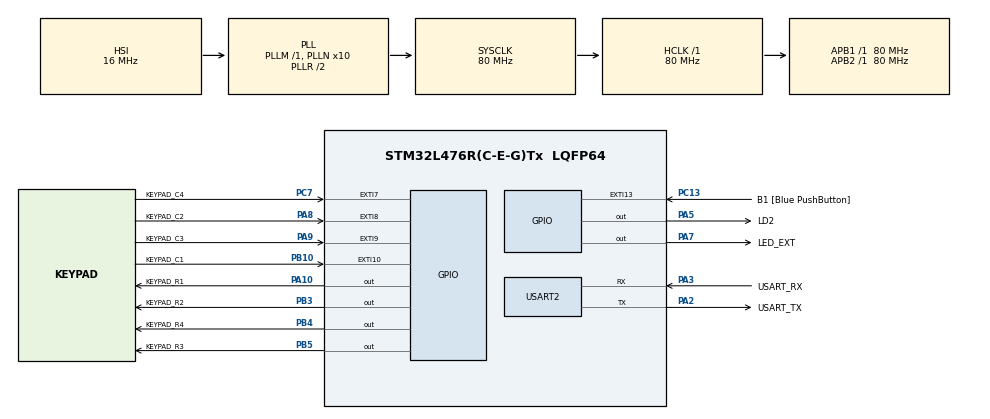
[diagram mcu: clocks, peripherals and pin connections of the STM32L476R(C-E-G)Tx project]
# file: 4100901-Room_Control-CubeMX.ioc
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Mcu.Family=STM32L4
Mcu.Name=STM32L476R(C-E-G)Tx
Mcu.Package=LQFP64
NVIC.EXTI15_10_IRQn=true\:0\:0\:false\:false\:true\:true\:true\:true
NVIC.EXTI9_5_IRQn=true\:0\:0\:false\:false\:true\:true\:true\:true
NVIC.PriorityGroup=NVIC_PRIORITYGROUP_4
NVIC.USART2_IRQn=true\:0\:0\:false\:false\:true\:true\:true\:true
PA10.GPIO_Label=KEYPAD_R1
PA10.Signal=GPIO_Output
PA13\ (JTMS-SWDIO).GPIO_Label=TMS
PA13\ (JTMS-SWDIO).Mode=Serial_Wire
PA13\ (JTMS-SWDIO).Signal=SYS_JTMS-SWDIO
PA14\ (JTCK-SWCLK).GPIO_Label=TCK
PA14\ (JTCK-SWCLK).Mode=Serial_Wire
PA14\ (JTCK-SWCLK).Signal=SYS_JTCK-SWCLK
PA2.GPIO_Label=USART_TX
PA2.GPIO_Mode=GPIO_MODE_AF_PP
PA2.GPIO_PuPd=GPIO_NOPULL
PA2.GPIO_Speed=GPIO_SPEED_FREQ_VERY_HIGH
PA2.Mode=Asynchronous
PA2.Signal=USART2_TX
PA3.GPIO_Label=USART_RX
PA3.GPIO_Mode=GPIO_MODE_AF_PP
PA3.GPIO_PuPd=GPIO_NOPULL
PA3.GPIO_Speed=GPIO_SPEED_FREQ_VERY_HIGH
PA3.Mode=Asynchronous
PA3.Signal=USART2_RX
PA5.GPIO_Label=LD2
PA5.Signal=GPIO_Output
PA7.GPIO_Label=LED_EXT
PA7.Signal=GPIO_Output
PA8.GPIO_Label=KEYPAD_C2
PA8.GPIO_PuPd=GPIO_PULLUP
PA8.Signal=GPXTI8
PA9.GPIO_Label=KEYPAD_C3
PA9.GPIO_PuPd=GPIO_PULLUP
PA9.Signal=GPXTI9
PB10.GPIO_Label=KEYPAD_C1
PB10.GPIO_PuPd=GPIO_PULLUP
PB10.Signal=GPXTI10
PB3\ (JTDO-TRACESWO).GPIO_Label=KEYPAD_R2
PB3\ (JTDO-TRACESWO).Signal=GPIO_Output
PB4\ (NJTRST).GPIO_Label=KEYPAD_R4
PB4\ (NJTRST).Signal=GPIO_Output
PB5.GPIO_Label=KEYPAD_R3
PB5.Signal=GPIO_Output
PC13.GPIO_Label=B1 [Blue PushButton]
PC13.GPIO_ModeDefaultEXTI=GPIO_MODE_IT_FALLING
PC13.GPIO_PuPd=GPIO_NOPULL
PC13.Signal=GPXTI13
PC14-OSC32_IN\ (PC14).Mode=LSE-External-Oscillator
PC14-OSC32_IN\ (PC14).Signal=RCC_OSC32_IN
PC15-OSC32_OUT\ (PC15).Mode=LSE-External-Oscillator
PC15-OSC32_OUT\ (PC15).Signal=RCC_OSC32_OUT
PC7.GPIO_Label=KEYPAD_C4
PC7.GPIO_PuPd=GPIO_PULLUP
PC7.Signal=GPXTI7
PH0-OSC_IN\ (PH0).Signal=RCC_OSC_IN
PH1-OSC_OUT\ (PH1).Signal=RCC_OSC_OUT
ProjectManager.HeapSize=0x200
ProjectManager.StackSize=0x400
ProjectManager.TargetToolchain=CMake
RCC.ADCFreq_Value=64000000
RCC.AHBFreq_Value=80000000
RCC.APB1Freq_Value=80000000
RCC.APB1TimFreq_Value=80000000
RCC.APB2Freq_Value=80000000
RCC.APB2TimFreq_Value=80000000
RCC.CortexFreq_Value=80000000
RCC.HCLKFreq_Value=80000000
RCC.HSE_VALUE=8000000
RCC.HSI_VALUE=16000000
RCC.MSI_VALUE=4000000
RCC.PLLN=10
RCC.PLLSourceVirtual=RCC_PLLSOURCE_HSI
RCC.PREFETCH_ENABLE=1
RCC.SYSCLKFreq_VALUE=80000000
RCC.SYSCLKSource=RCC_SYSCLKSOURCE_PLLCLK
RCC.USBFreq_Value=64000000
RCC.VCOOutputFreq_Value=160000000
USART2.VirtualMode-Asynchronous=VM_ASYNC
board=NUCLEO-L476RG

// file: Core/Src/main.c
/* USER CODE BEGIN Header */
/**
  ******************************************************************************
  * @file    stm32l4xx_it.h
  * @brief   This file contains the headers of the interrupt handlers.
  ******************************************************************************
  * @attention
  *
  * Copyright (c) 2025 STMicroelectronics.
  * All rights reserved.
  *
  * This software is licensed under terms that can be found in the LICENSE file
  * in the root directory of this software component.
  * If no LICENSE file comes with this software, it is provided AS-IS.
  *
  ******************************************************************************
  */
/* USER CODE END Header */

#include "main.h"
#include "keypad_driver.h"
#include "led_driver.h"
#include "ring_buffer.h"
#include <stdio.h>
#include <string.h>

UART_HandleTypeDef huart2;
int _write(int file, char *ptr, int len) { // Redirección de printf para enviar datos por UART

//Controlador de UART2 para comunicación serie
    HAL_UART_Transmit(&huart2, (uint8_t*)ptr, len, HAL_MAX_DELAY);
    return len;
}

/* USER CODE BEGIN PV */
led_handle_t led1 = { .port = GPIOA, .pin = GPIO_PIN_5 }; // LED de la Nucleo al pin PA5

#define RING_BUFFER_SIZE 16    //aqui se declara un buffer circular de cabeza y cola
uint8_t ring_buffer[RING_BUFFER_SIZE]; //tamaño 16 para manejar datos de uart
ring_buffer_t rb;

#define KEYPAD_BUFFER_LEN 16                 //Aqui declaro un buffer circular para el teclado 4x4
uint8_t keypad_buffer[KEYPAD_BUFFER_LEN];
ring_buffer_t keypad_rb;

// Configuración de pines del teclado 4x4
keypad_handle_t keypad = {
    .row_ports = {KEYPAD_R1_GPIO_Port, KEYPAD_R2_GPIO_Port, KEYPAD_R3_GPIO_Port, KEYPAD_R4_GPIO_Port},
    .row_pins  = {KEYPAD_R1_Pin, KEYPAD_R2_Pin, KEYPAD_R3_Pin, KEYPAD_R4_Pin},
    .col_ports = {KEYPAD_C1_GPIO_Port, KEYPAD_C2_GPIO_Port, KEYPAD_C3_GPIO_Port, KEYPAD_C4_GPIO_Port},
    .col_pins  = {KEYPAD_C1_Pin, KEYPAD_C2_Pin, KEYPAD_C3_Pin, KEYPAD_C4_Pin}
};

uint32_t last_key_time = 0;        // Variable para manejar el antirebote de las teclas del teclado
                                // Esta variable almacena el tiempo del último evento de tecla
/* USER CODE END PV */

void SystemClock_Config(void);   // Configuración del reloj del sistema
void Error_Handler(void);        // Manejo de errores
static void MX_GPIO_Init(void); // Inicialización de GPIO
static void MX_USART2_UART_Init(void);  // Inicialización del UART

/* USER CODE BEGIN 0 */
// Callback de interrupción externa (tecla presionada)
void HAL_GPIO_EXTI_Callback(uint16_t GPIO_Pin) {
    uint32_t now = HAL_GetTick();
    if (now - last_key_time < 200) return;  // Antirebote: ignora eventos si han pasado menos de 200 ms
    last_key_time = now;

     // Escanea la tecla presionada y la guarda en el buffer si es válida
    char key = keypad_scan(&keypad, GPIO_Pin);
    if (key != '\0') {
        ring_buffer_write(&keypad_rb, (uint8_t)key);
    }
}
/* USER CODE END 0 */

int main(void) //inicializacion basica del sistema
{
  HAL_Init();
  SystemClock_Config();
  MX_GPIO_Init();
  MX_USART2_UART_Init();
// Inicialización de la HAL y configuración del reloj del sistema
  HAL_NVIC_SetPriority(SysTick_IRQn, 0, 0);
  HAL_NVIC_SetPriority(EXTI9_5_IRQn, 2, 0);
  HAL_NVIC_SetPriority(EXTI15_10_IRQn, 2, 0);

// Inicialización de la UART y GPIO prioridades para interrupciones
  /* USER CODE BEGIN 2 */
  led_init(&led1);
  ring_buffer_init(&rb, ring_buffer, RING_BUFFER_SIZE);
  ring_buffer_init(&keypad_rb, keypad_buffer, KEYPAD_BUFFER_LEN);
  keypad_init(&keypad);
// Inicialización del LED y los buffers circulares
//configura pines de filas(como salidas) y columnas del teclado ( como entradas)
  printf("Sistema listo. Introduzca clave de 4 dígitos:\r\n");

  char clave_correcta[5] = "1234"; //Definimos nuestra clave correcta
  char clave_ingresada[5] = {0};
  int idx = 0;
  /* USER CODE END 2 */

  while (1)
  {
    uint8_t tecla;
    if (ring_buffer_read(&keypad_rb, &tecla)) { // Lectura de la tecla del buffer circular del teclado
        printf("Tecla: %c\r\n", tecla); // Imprime la tecla leída en el buffer

        if (idx < 4) {                     //Va llenando una clave de 4 dígitos.
                                           // También parpadea el LED cada vez que se presiona una tecla.
            clave_ingresada[idx++] = tecla;
            led_on(&led1);
            HAL_Delay(50);
            led_off(&led1);
        }

        if (idx == 4) { // Cuando se ingresan 4 dígitos, se compara con la clave correcta
            clave_ingresada[4] = '\0';  // Asegura que la cadena esté terminada en nulo
            printf("Clave ingresada: %s\r\n", clave_ingresada);

            if (strcmp(clave_ingresada, clave_correcta) == 0) {   // Compara la clave ingresada con la correcta
                printf("Clave Correcta\r\n");                  // Si coinciden, se enciende el LED 5 veces
                for (int i = 0; i < 5; i++) {
                    led_on(&led1);
                    HAL_Delay(500);
                    led_off(&led1);
                    HAL_Delay(500);
                }
            } else {  // Si no coinciden, se enciende el LED 10 veces
                printf("Clave Incorrecta, Vuelve a Intentarlo\r\n");
                for (int i = 0; i < 20; i++) {
                    led_toggle(&led1);
                    HAL_Delay(50);  // Parpadea el LED rápidamente
                }
                led_off(&led1);
            }

            idx = 0;  // Reinicia el índice para permitir una nueva entrada de clave
            memset(clave_ingresada, 0, sizeof(clave_ingresada));    //// Limpia el buffer de la clave ingresada
        }
    }

    HAL_Delay(10);    // Pequeña pausa para evitar saturar el bucle principal
  }
}

void SystemClock_Config(void)       // Configuración del reloj del sistema
{
  RCC_OscInitTypeDef RCC_OscInitStruct = {0};
  RCC_ClkInitTypeDef RCC_ClkInitStruct = {0};

  HAL_PWREx_ControlVoltageScaling(PWR_REGULATOR_VOLTAGE_SCALE1);

  RCC_OscInitStruct.OscillatorType = RCC_OSCILLATORTYPE_HSI;
  RCC_OscInitStruct.HSIState = RCC_HSI_ON;
  RCC_OscInitStruct.HSICalibrationValue = RCC_HSICALIBRATION_DEFAULT;
  RCC_OscInitStruct.PLL.PLLState = RCC_PLL_ON;
  RCC_OscInitStruct.PLL.PLLSource = RCC_PLLSOURCE_HSI;
  RCC_OscInitStruct.PLL.PLLM = 1;
  RCC_OscInitStruct.PLL.PLLN = 10;
  RCC_OscInitStruct.PLL.PLLP = RCC_PLLP_DIV7;
  RCC_OscInitStruct.PLL.PLLQ = RCC_PLLQ_DIV2;
  RCC_OscInitStruct.PLL.PLLR = RCC_PLLR_DIV2;
  HAL_RCC_OscConfig(&RCC_OscInitStruct);

  RCC_ClkInitStruct.ClockType = RCC_CLOCKTYPE_HCLK|RCC_CLOCKTYPE_SYSCLK
                              |RCC_CLOCKTYPE_PCLK1|RCC_CLOCKTYPE_PCLK2;
  RCC_ClkInitStruct.SYSCLKSource = RCC_SYSCLKSOURCE_PLLCLK;
  RCC_ClkInitStruct.AHBCLKDivider = RCC_SYSCLK_DIV1;
  RCC_ClkInitStruct.APB1CLKDivider = RCC_HCLK_DIV1;
  RCC_ClkInitStruct.APB2CLKDivider = RCC_HCLK_DIV1;

  HAL_RCC_ClockConfig(&RCC_ClkInitStruct, FLASH_LATENCY_4);
}

static void MX_USART2_UART_Init(void) // Configuración de UART2
{
  huart2.Instance = USART2;
  huart2.Init.BaudRate = 115200;
  huart2.Init.WordLength = UART_WORDLENGTH_8B;
  huart2.Init.StopBits = UART_STOPBITS_1;
  huart2.Init.Parity = UART_PARITY_NONE;
  huart2.Init.Mode = UART_MODE_TX_RX;
  huart2.Init.HwFlowCtl = UART_HWCONTROL_NONE;
  huart2.Init.OverSampling = UART_OVERSAMPLING_16;
  huart2.Init.OneBitSampling = UART_ONE_BIT_SAMPLE_DISABLE;
  huart2.AdvancedInit.AdvFeatureInit = UART_ADVFEATURE_NO_INIT;
  HAL_UART_Init(&huart2);
}

static void MX_GPIO_Init(void)    // Inicialización de los pines GPIO
{
  GPIO_InitTypeDef GPIO_InitStruct = {0};

  __HAL_RCC_GPIOC_CLK_ENABLE();
  __HAL_RCC_GPIOH_CLK_ENABLE();
  __HAL_RCC_GPIOA_CLK_ENABLE();
  __HAL_RCC_GPIOB_CLK_ENABLE();

  GPIO_InitStruct.Pin = GPIO_PIN_5;
  GPIO_InitStruct.Mode = GPIO_MODE_OUTPUT_PP;
  GPIO_InitStruct.Pull = GPIO_NOPULL;
  GPIO_InitStruct.Speed = GPIO_SPEED_FREQ_LOW;
  HAL_GPIO_Init(GPIOA, &GPIO_InitStruct);

  GPIO_InitStruct.Mode = GPIO_MODE_OUTPUT_PP;
  GPIO_InitStruct.Pull = GPIO_NOPULL;
  GPIO_InitStruct.Speed = GPIO_SPEED_FREQ_LOW;

  GPIO_InitStruct.Pin = KEYPAD_R1_Pin;
  HAL_GPIO_Init(KEYPAD_R1_GPIO_Port, &GPIO_InitStruct);
  GPIO_InitStruct.Pin = KEYPAD_R2_Pin | KEYPAD_R3_Pin | KEYPAD_R4_Pin;
  HAL_GPIO_Init(GPIOB, &GPIO_InitStruct);

  GPIO_InitStruct.Mode = GPIO_MODE_IT_FALLING;
  GPIO_InitStruct.Pull = GPIO_PULLUP;

  GPIO_InitStruct.Pin = KEYPAD_C1_Pin;
  HAL_GPIO_Init(KEYPAD_C1_GPIO_Port, &GPIO_InitStruct);
  GPIO_InitStruct.Pin = KEYPAD_C2_Pin | KEYPAD_C3_Pin;
  HAL_GPIO_Init(GPIOA, &GPIO_InitStruct);
  GPIO_InitStruct.Pin = KEYPAD_C4_Pin;
  HAL_GPIO_Init(KEYPAD_C4_GPIO_Port, &GPIO_InitStruct);

  HAL_NVIC_SetPriority(EXTI9_5_IRQn, 0, 0);
  HAL_NVIC_EnableIRQ(EXTI9_5_IRQn);
  HAL_NVIC_SetPriority(EXTI15_10_IRQn, 0, 0);
  HAL_NVIC_EnableIRQ(EXTI15_10_IRQn);
}

void Error_Handler(void)        // Manejo de errores
{
  __disable_irq();                  // Deshabilita todas las interrupciones
  while (1) {}      // Bucle infinito para indicar un error
}
